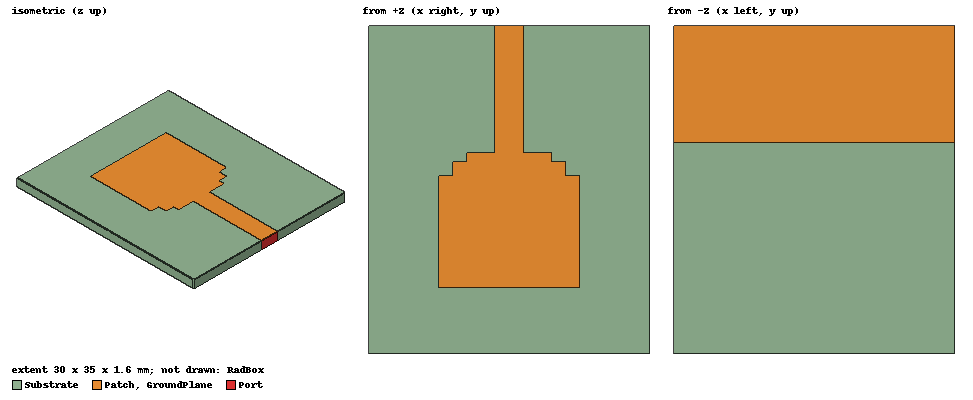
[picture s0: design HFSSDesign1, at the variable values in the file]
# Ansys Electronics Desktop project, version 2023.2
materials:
  vacuum: permittivity=1
  FR4_epoxy: permittivity=4.4 dielectric_loss_tangent=0.02
  air: permittivity=1.0006 permeability=1.0000004

design HFSSDesign1 (HFSS, HFSS Terminal Network, model units mm)
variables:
  ls = 30mm
  ws = 35mm
  hs = 1.6mm
  lp = 15mm
  lf = 13.5mm
  wp = 14.5mm
  wf = 3.2mm
  lsl1 = 3mm
  wsl1 = 1mm
  lsl2 = 1.5mm
  wsl2 = 1.5mm
  wg = 12.5mm
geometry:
  Substrate [FR4_epoxy] = box(corner=(-ls/2, -ws/2, 0mm), size=(ls, ws, hs))
  Patch = rectangle(corner=(-lp/2, ws/2-lf, hs), x_size=lp, y_size=-wp)
  Feed = rectangle(corner=(-wf/2, ws/2, hs), x_size=wf, y_size=-lf)
  Slot1_1 = rectangle(corner=(lp/2, ws/2-lf, hs), x_size=-lsl1, y_size=-wsl1)
  Slot1_2 = rectangle(corner=(lp/2, ws/2-lf-wsl1, hs), x_size=-lsl2, y_size=-wsl2)
  Slot1_3 = rectangle(corner=(-lp/2, ws/2-lf, hs), x_size=lsl1, y_size=-wsl1)
  Slot1_4 = rectangle(corner=(-lp/2, ws/2-lf-wsl1, hs), x_size=lsl2, y_size=-wsl2)
  Slot1_1.unite(Slot1_2, Slot1_3, Slot1_4)
  Patch.subtract(Slot1_1)
  Patch.unite(Feed)
  GroundPlane = rectangle(corner=(-ls/2, ws/2, 0mm), x_size=ls, y_size=-wg)
  Port = rectangle(corner=(-wf/2, ws/2, 0mm), z_size=hs, x_size=wf)
  RadBox [air] = box(corner=(-ls/2-15 mm, -ws/2-15 mm, -16mm), size=(ls+30 mm, ws+30 mm, 32mm))
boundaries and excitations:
  PerfE1: Perfect E Objects=Patch
  PerfE2: Perfect E Objects=GroundPlane
  Rad1: Radiation Objects=RadBox
  1: Lumped Port Objects=Port LumpedPortType=Modal Modes{Mode1{IntLine{(0, 17.5, 0) -> (0, 17.5, 1.6)} CharImp=Zpi RenormImp=50ohm}} Impedance=50ohm
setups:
  Setup1: HfssDriven Frequency=7.5GHz MaxDeltaS=0.02 MaximumPasses=6 MinimumPasses=1 MinimumConvergedPasses=1 PercentRefinement=30 BasisOrder=1 PortAccuracy=2 DrivenSolverType="Direct Solver"
    sweep Sweep: 2GHz to 14GHz step 0.01GHz; Type=Fast SaveFields
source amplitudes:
  1:1: 1V 0deg
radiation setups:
  Infinite Sphere1: Infinite Sphere Theta=0deg..360deg step 10deg Phi=0deg..90deg step 90deg
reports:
  Return Loss S(1,1): dB(S(1,1)) vs Freq on Setup1 : Sweep; markers m1 at 3.75GHz, m2 at 11.11GHz, m3 at 7.6GHz
  Smith Chart Plot S(1,1): S(1,1) on Setup1 : Sweep [Freq=all]
  RadiationPattern dB: dB(rETotal) vs Theta on Setup1 : Sweep, Infinite Sphere1 [Phi=0deg,90deg Freq=7.5GHz]
  Directivity dB: dB(DirTotal) vs Phi, Theta on Setup1 : LastAdaptive, Infinite Sphere1 [Freq=7.5GHz]
  VSWR dB: dB(VSWR(1)) vs Freq on Setup1 : Sweep; markers m1 at 3.74GHz, m2 at 11.08GHz
  Phase Plot(E, H plane)dB: dB(rETotal) vs Theta on Setup1 : LastAdaptive, Infinite Sphere1 [Phi=all Freq=7.5GHz]; markers m1 at 90deg, m2 at 280deg, m3 at 100deg, m4 at 260deg
